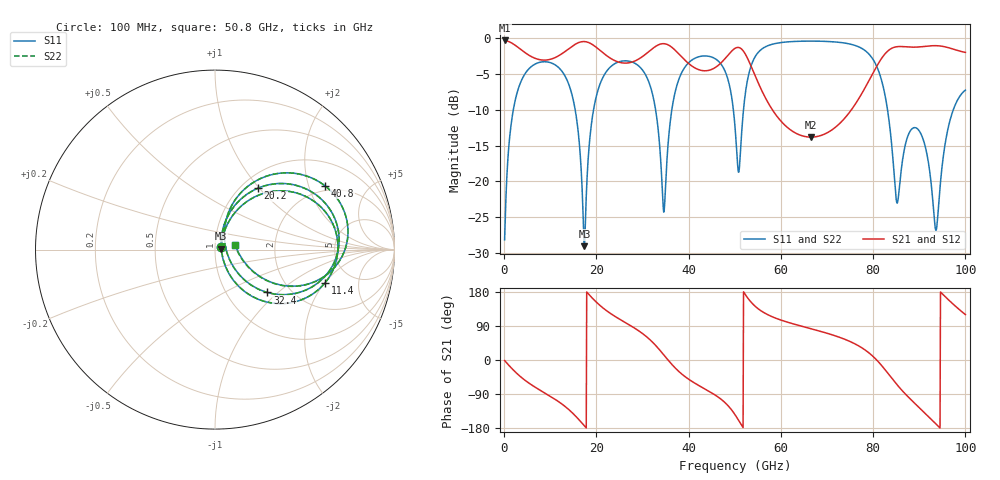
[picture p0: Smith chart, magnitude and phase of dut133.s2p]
! Touchstone file exported from HFSS 2026.1.0
!  File:  C:/ffzhzh/LocalFiles/Ansys_Project_Files/temp_train_TSV_RDL_133_1783461218_28540.aedt
!  Generated:  06:09:49 AM Jul  8, 2026
!  Design:  TSV_RDL
!  Project:  temp_train_TSV_RDL_133_1783461218_28540
! Variables:
!  h_bsmrdl = 2.33um
!  h_ox = 20um
!  h_rdl = 5um
!  h_sub = 51.29um
!  h_tmrdl = 2.6um
!  h_tsv = 51.29um
!  h_via = 3um
!  l_bsmrdl = 114.32um
!  l_sub = 3475.06um
!  l_tmrdl = 655.23um
!  m_sub = 200um
!  pitch = 53.8um
!  r_tsv = 9.38um
!  s_tmrdl = 10um
!  w_bsmrdl = 26.19um
!  w_sub = 500um
!  w_tmrdl = 10.87um
!  x_tsv_center1 = 660.665um
!  x_tsv_center2 = 801.175um
!  x_tsv_center3 = 1467.275um
!  x_tsv_center4 = 1607.785um
!  x_tsv_center5 = 2273.885um
!  x_tsv_center6 = 2414.395um
# GHz S MA R 50.000000
! Terminal data exported
! Port[1] = TM_RDL1_1_T1
! Port[2] = TM_RDL5_1_T1
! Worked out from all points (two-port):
!   1000 points, 100 MHz to 100 GHz, reference 50 ohm
!   highest |S21| = -0.31 dB at 100 MHz (marker M1); lowest = -13.8 dB at 66.5 GHz (marker M2)
!   |S21| within 3 dB of the highest: start of sweep to 24.68 GHz; 81.34 GHz to end of sweep (the widest 2 of 4)
!   lowest |S11| = -29.1 dB at 17.4 GHz (marker M3), VSWR 1.07, Z = 53.6 + j0.549 ohm
!   |S11| at or under -10 dB: 15.4 GHz to 19.38 GHz (3.982 GHz wide, 22.9 % of centre); 32.83 GHz to 36.35 GHz (3.519 GHz wide, 10.2 % of centre); 83.12 GHz to 97.37 GHz (14.26 GHz wide, 15.8 % of centre) (the widest 3 of 5)
!   |S22| runs from -28.9 to -0.4 dB; largest |S21 - S12| = 2e-11
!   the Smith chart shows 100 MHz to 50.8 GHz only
!   S11 on the Smith chart (normalised r, x): 100 MHz: 1.07, +0.04; 11.4 GHz: 3.19, -2.01; 20.2 GHz: 1.19, +0.98; 32.4 GHz: 1.54, -0.85; 40.8 GHz: 1.80, +2.57; 50.8 GHz: 1.25, +0.07
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0.1  0.03893 25.7  0.9652 -1.4  0.9652 -1.4  0.03893 25.7
! Gamma 0 0 0 0
! Port Impedance 50 0 50 0
3.2  0.4568 45.3  0.8547 -40.3  0.8547 -40.3  0.4568 45.3
11.4  0.6401 -16.9  0.7418 -106.5  0.7418 -106.5  0.6401 -16.9
16.8  0.1051 -57.6  0.9456 -165.4  0.9456 -165.4  0.1054 -57.2
17.4  0.03515 8.4  0.948 -173.7  0.948 -173.7  0.03601 8.3
20.2  0.4178 55.1  0.8529 150.3  0.8529 150.3  0.4179 54.9
26.6  0.6946 5.8  0.6707 96.5  0.6707 96.5  0.6946 5.8
32.4  0.3767 -39.3  0.8575 44.2  0.8575 44.2  0.3766 -39.4
33.4  0.229 -45.8  0.8981 31.0  0.8981 31.0  0.2288 -46.0
34.7  0.06248 24.6  0.9161 12.2  0.9161 12.2  0.06177 24.7
40.8  0.7078 30.2  0.6362 -57.1  0.6362 -57.1  0.7078 30.2
50.1  0.2299 -28.9  0.852 -145.1  0.852 -145.1  0.229 -29.3
50.8  0.1156 13.0  0.8624 -158.5  0.8624 -158.5  0.1137 12.9
54.5  0.7507 43.3  0.5389 140.9  0.5389 140.9  0.7505 43.4
66.5  0.9553 -7.9  0.2035 82.6  0.2035 82.6  0.9553 -7.9
66.7  0.9553 -8.5  0.2036 81.9  0.2036 81.9  0.9553 -8.5
78.6  0.8031 -61.1  0.4725 23.4  0.4725 23.4  0.8031 -61.0
83.4  0.2725 -108.2  0.8257 -38.2  0.8257 -38.2  0.2725 -108.0
85.2  0.07025 -58.1  0.8731 -65.5  0.8731 -65.5  0.07051 -57.8
87.5  0.2061 -14.6  0.8693 -96.2  0.8693 -96.2  0.2064 -14.4
93  0.06902 -34.3  0.8872 -161.2  0.8872 -161.2  0.07104 -32.5
100  0.4337 27.3  0.7962 119.8  0.7962 119.8  0.4339 26.8
